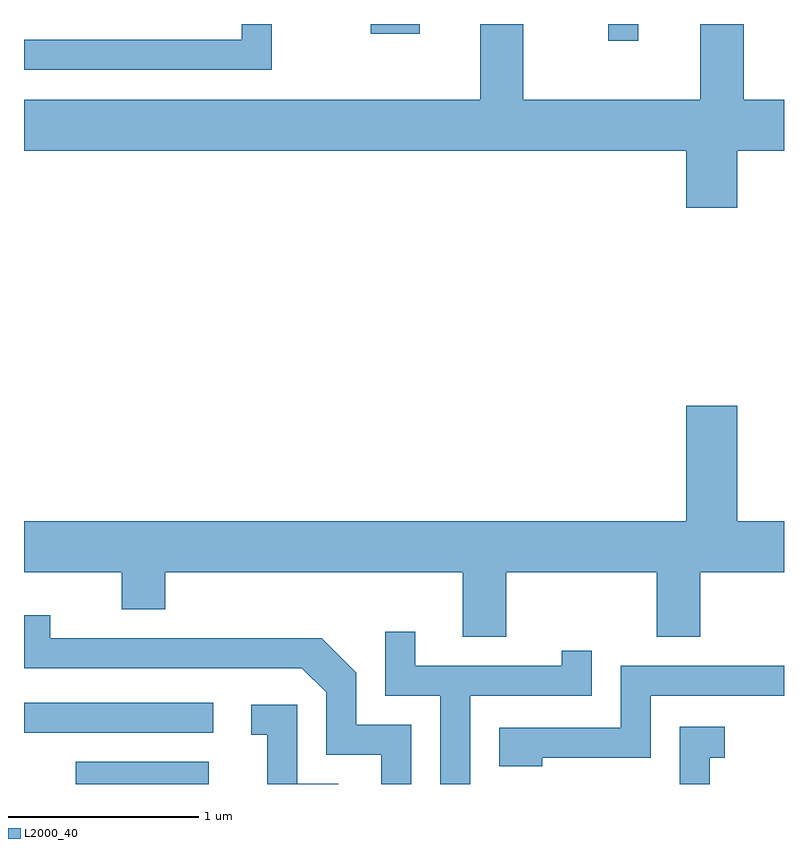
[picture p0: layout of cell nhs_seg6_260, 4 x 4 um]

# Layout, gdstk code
import gdstk
lib = gdstk.Library(unit=1e-6, precision=1e-09)
def R(c, l, rs):  # rectangles x0, y0, x1, y1
    for r in rs: c.add(gdstk.rectangle(r[:2], r[2:], *l))
def P(c, l, *ps):  # polygons
    for p in ps: c.add(gdstk.Polygon(p, *l))
L2000_40 = (2000, 40)

nhs_seg6_260 = lib.new_cell('nhs_seg6_260')
R(nhs_seg6_260, L2000_40, [(191.883,1642.162,192.584,1642.279), (191.611,1642.431,192.608,1642.589), (194.686,1646.073,194.844,1646.162), (193.436,1646.111,193.694,1646.162)])
P(nhs_seg6_260, L2000_40, [(195.364,1645.496),(195.611,1645.496),(195.611,1645.764),(195.399,1645.764),(195.399,1646.162),(195.171,1646.162),(195.171,1645.764),(194.239,1645.764),(194.239,1646.162),(194.011,1646.162),(194.011,1645.764),(191.611,1645.764),(191.611,1645.496),(195.096,1645.496),(195.096,1645.196),(195.364,1645.196)],
  [(192.914,1646.162),(192.756,1646.162),(192.756,1646.079),(191.611,1646.079),(191.611,1645.921),(192.914,1645.921)],
  [(194.149,1643.276),(194.941,1643.276),(194.941,1642.936),(195.169,1642.936),(195.169,1643.276),(195.611,1643.276),(195.611,1643.544),(195.364,1643.544),(195.364,1644.154),(195.096,1644.154),(195.096,1643.544),(191.611,1643.544),(191.611,1643.276),(192.126,1643.276),(192.126,1643.081),(192.354,1643.081),(192.354,1643.276),(193.921,1643.276),(193.921,1642.936),(194.149,1642.936)],
  [(193.649,1642.474),(193.359,1642.474),(193.359,1642.747),(193.177,1642.929),(191.749,1642.929),(191.749,1643.049),(191.611,1643.049),(191.611,1642.771),(193.074,1642.771),(193.201,1642.644),(193.201,1642.316),(193.491,1642.316),(193.491,1642.162),(193.649,1642.162)],
  [(193.959,1642.626),(194.599,1642.626),(194.599,1642.863),(194.441,1642.863),(194.441,1642.784),(193.669,1642.784),(193.669,1642.963),(193.511,1642.963),(193.511,1642.626),(193.801,1642.626),(193.801,1642.162),(193.959,1642.162)],
  [(194.339,1642.301),(194.909,1642.301),(194.909,1642.626),(195.611,1642.626),(195.611,1642.784),(194.751,1642.784),(194.751,1642.459),(194.111,1642.459),(194.111,1642.256),(194.339,1642.256)],
  [(193.264,1642.164),(193.049,1642.164),(193.049,1642.579),(192.808,1642.579),(192.808,1642.421),(192.891,1642.421),(192.891,1642.162),(193.264,1642.162)],
  [(195.219,1642.301),(195.298,1642.301),(195.298,1642.464),(195.061,1642.464),(195.061,1642.162),(195.219,1642.162)])

lib.write_gds('nhs_seg6_260.gds')
